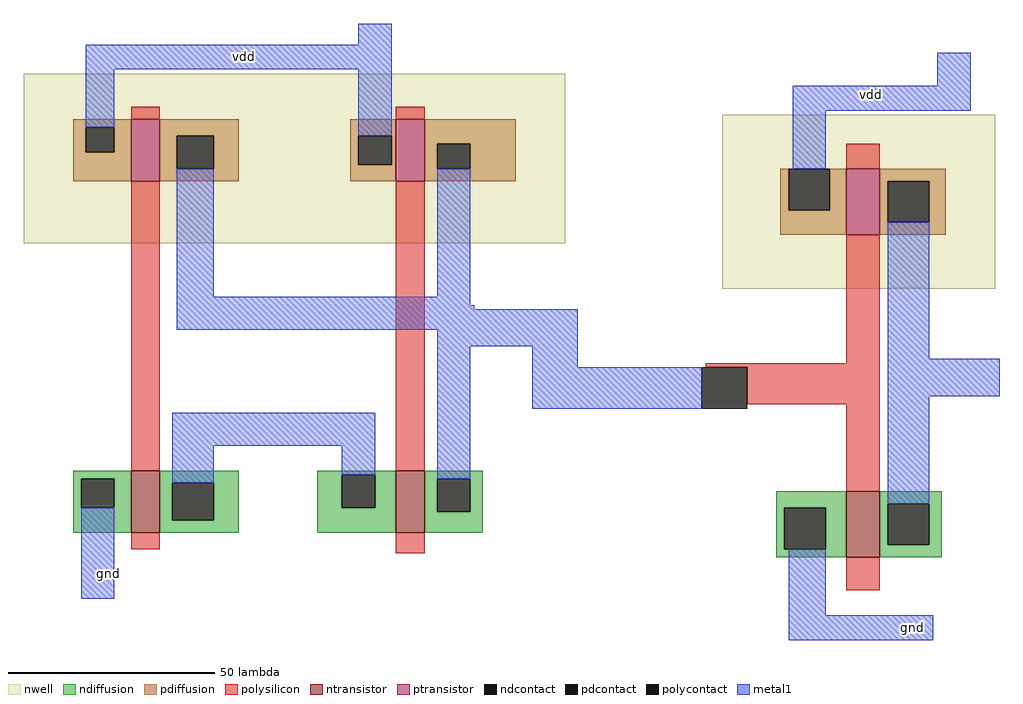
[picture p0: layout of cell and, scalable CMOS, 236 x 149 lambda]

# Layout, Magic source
magic
tech scmos
<< nwell >>
rect 0 96 131 137
rect 169 85 235 127
<< ntransistor >>
rect 26 26 33 41
rect 90 26 97 41
rect 199 20 207 36
<< ptransistor >>
rect 26 111 33 126
rect 90 111 97 126
rect 199 98 207 114
<< ndiffusion >>
rect 12 39 26 41
rect 12 32 14 39
rect 22 32 26 39
rect 12 26 26 32
rect 33 38 52 41
rect 33 29 36 38
rect 46 29 52 38
rect 33 26 52 29
rect 71 40 90 41
rect 71 32 77 40
rect 85 32 90 40
rect 71 26 90 32
rect 97 39 111 41
rect 97 31 100 39
rect 108 31 111 39
rect 97 26 111 31
rect 182 32 199 36
rect 182 22 184 32
rect 194 22 199 32
rect 182 20 199 22
rect 207 33 222 36
rect 207 23 209 33
rect 219 23 222 33
rect 207 20 222 23
<< pdiffusion >>
rect 12 124 26 126
rect 12 118 15 124
rect 22 118 26 124
rect 12 111 26 118
rect 33 122 52 126
rect 33 114 37 122
rect 46 114 52 122
rect 33 111 52 114
rect 79 122 90 126
rect 79 115 81 122
rect 89 115 90 122
rect 79 111 90 115
rect 97 120 119 126
rect 97 114 100 120
rect 108 114 119 120
rect 97 111 119 114
rect 183 104 185 114
rect 195 104 199 114
rect 183 98 199 104
rect 207 111 223 114
rect 207 101 209 111
rect 219 101 223 111
rect 207 98 223 101
<< ndcontact >>
rect 14 32 22 39
rect 36 29 46 38
rect 77 32 85 40
rect 100 31 108 39
rect 184 22 194 32
rect 209 23 219 33
<< pdcontact >>
rect 15 118 22 124
rect 37 114 46 122
rect 81 115 89 122
rect 100 114 108 120
rect 185 104 195 114
rect 209 101 219 111
<< polysilicon >>
rect 26 126 33 129
rect 90 126 97 129
rect 199 114 207 120
rect 26 41 33 111
rect 90 41 97 111
rect 199 67 207 98
rect 165 66 207 67
rect 175 57 207 66
rect 199 36 207 57
rect 26 22 33 26
rect 90 21 97 26
rect 199 12 207 20
<< polycontact >>
rect 164 56 175 66
<< metal1 >>
rect 81 144 89 149
rect 15 138 89 144
rect 15 124 22 138
rect 81 122 89 138
rect 221 134 229 142
rect 186 128 229 134
rect 37 83 46 114
rect 186 114 194 128
rect 100 83 108 114
rect 37 81 108 83
rect 37 80 109 81
rect 37 75 134 80
rect 100 71 134 75
rect 36 47 85 55
rect 14 10 22 32
rect 36 38 46 47
rect 77 40 85 47
rect 100 39 108 71
rect 123 66 134 71
rect 209 68 219 101
rect 123 56 164 66
rect 209 59 236 68
rect 209 33 219 59
rect 185 6 194 22
rect 185 0 220 6
<< labels >>
rlabel metal1 204 131 206 133 5 vdd
rlabel metal1 214 2 216 4 1 gnd
rlabel metal1 53 139 54 143 5 vdd
rlabel metal1 20 14 21 18 1 gnd
<< end >>
